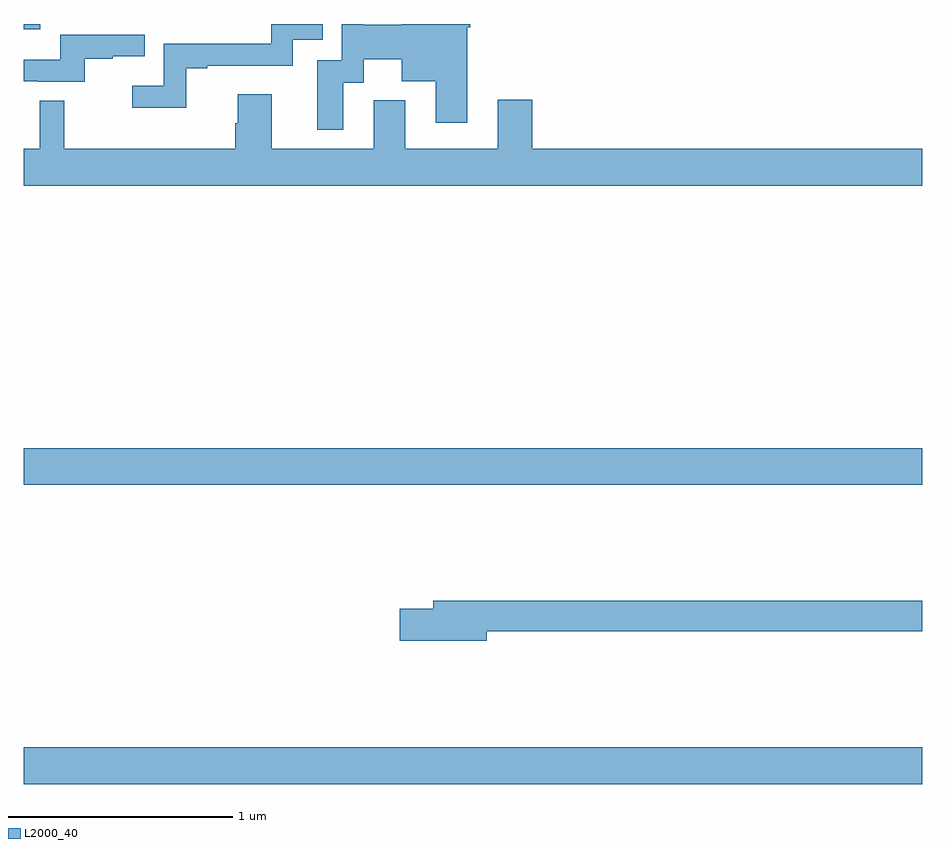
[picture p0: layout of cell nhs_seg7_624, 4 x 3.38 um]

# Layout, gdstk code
import gdstk
lib = gdstk.Library(unit=1e-6, precision=1e-09)
def R(c, l, rs):  # rectangles x0, y0, x1, y1
    for r in rs: c.add(gdstk.rectangle(r[:2], r[2:], *l))
def P(c, l, *ps):  # polygons
    for p in ps: c.add(gdstk.Polygon(p, *l))
L2000_40 = (2000, 40)

nhs_seg7_624 = lib.new_cell('nhs_seg7_624')
R(nhs_seg7_624, L2000_40, [(159,1000.616,163,1000.78), (159,1001.948,163,1002.112), (159,1003.976,159.073,1004)])
P(nhs_seg7_624, L2000_40, [(159.723,1003.803),(159.817,1003.803),(159.817,1003.815),(160.197,1003.815),(160.197,1003.929),(160.331,1003.929),(160.331,1004),(160.101,1004),(160.101,1003.911),(159.624,1003.911),(159.624,1003.726),(159.483,1003.726),(159.483,1003.628),(159.723,1003.628)],
  [(160.423,1003.738),(160.513,1003.738),(160.513,1003.844),(160.682,1003.844),(160.682,1003.745),(160.835,1003.745),(160.835,1003.56),(160.975,1003.56),(160.975,1003.985),(160.988,1003.985),(160.988,1004),(160.682,1004),(160.682,1003.996),(160.512,1003.996),(160.512,1004),(160.416,1004),(160.416,1003.839),(160.307,1003.839),(160.307,1003.53),(160.423,1003.53)],
  [(159.272,1003.845),(159.395,1003.845),(159.395,1003.856),(159.539,1003.856),(159.539,1003.953),(159.162,1003.953),(159.162,1003.841),(159,1003.841),(159,1003.746),(159.064,1003.746),(159.064,1003.743),(159.272,1003.743)],
  [(163,1003.444),(161.264,1003.444),(161.264,1003.663),(161.111,1003.663),(161.111,1003.444),(160.699,1003.444),(160.699,1003.66),(160.559,1003.66),(160.559,1003.444),(160.105,1003.444),(160.105,1003.687),(159.953,1003.687),(159.953,1003.557),(159.941,1003.557),(159.941,1003.444),(159.181,1003.444),(159.181,1003.658),(159.072,1003.658),(159.072,1003.444),(159,1003.444),(159,1003.28),(163,1003.28)],
  [(161.062,1001.296),(163,1001.296),(163,1001.432),(160.823,1001.432),(160.823,1001.396),(160.674,1001.396),(160.674,1001.254),(161.062,1001.254)])

lib.write_gds('nhs_seg7_624.gds')
